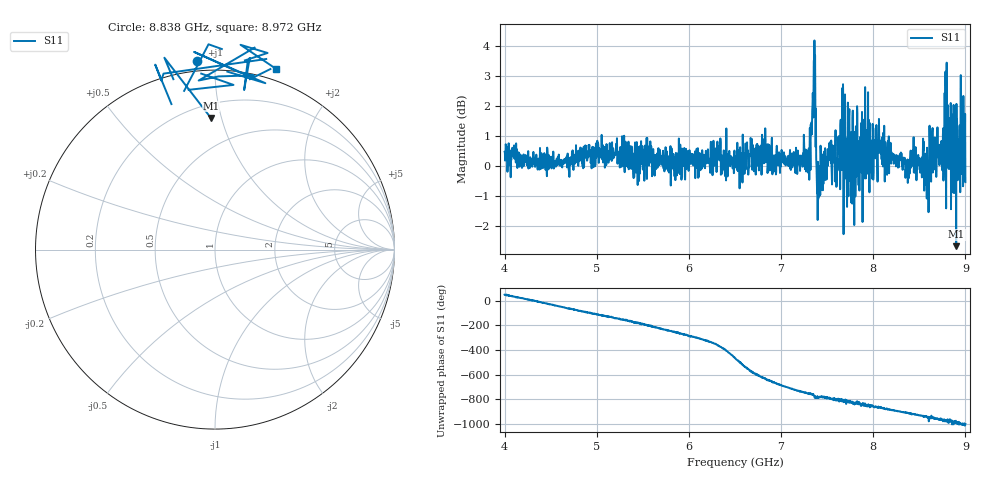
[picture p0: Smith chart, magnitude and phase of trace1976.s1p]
! Created with skrf 1.8.0 (http://scikit-rf.org).
# Hz S RI R 50.0
!freq ReS11 ImS11
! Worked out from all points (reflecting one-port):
!   1601 points, 4 GHz to 9 GHz, reference 50 ohm
!   lowest |S11| = -2.7 dB at 8.9 GHz (marker M1), VSWR 6.52, Z = 14.6 + j46.3 ohm
!   phase of S11 starts at 48 deg and turns -1049 deg over the sweep
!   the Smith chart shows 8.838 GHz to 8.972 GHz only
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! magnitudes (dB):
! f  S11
! 4 GHz  0.5
! 4.625 GHz  0.0
! 5.25 GHz  -0.1
! 5.875 GHz  0.1
! 6.5 GHz  -0.1
! 7.125 GHz  0.4
! 7.294 GHz  -0.2
! 7.353 GHz  2.9
! 7.4 GHz  0.1
! 7.412 GHz  -1.0
! 7.522 GHz  0.4
! 7.619 GHz  1.0
! 7.669 GHz  1.2
! 7.75 GHz  0.8
! 7.872 GHz  -0.1
! 7.928 GHz  1.2
! 7.981 GHz  -0.2
! 8.05 GHz  0.9
! 8.375 GHz  -0.6
! 8.522 GHz  0.2
! 8.578 GHz  0.0
! 8.634 GHz  0.8
! 8.741 GHz  0.4
! 8.797 GHz  3.5
! 8.844 GHz  -1.4
! 8.9 GHz  -2.7
! 8.972 GHz  0.5
! 9 GHz  -0.5
